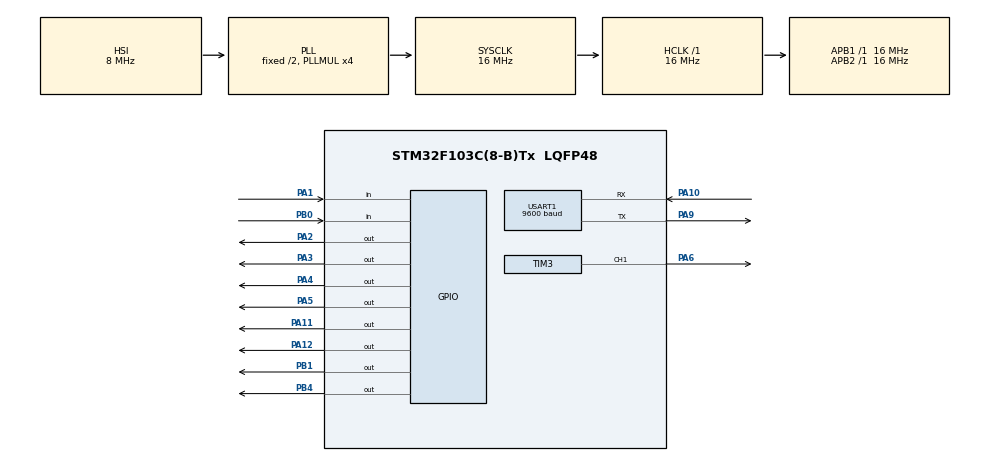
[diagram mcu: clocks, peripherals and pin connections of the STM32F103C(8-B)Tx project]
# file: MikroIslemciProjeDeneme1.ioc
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Mcu.Family=STM32F1
Mcu.Name=STM32F103C(8-B)Tx
Mcu.Package=LQFP48
NVIC.PriorityGroup=NVIC_PRIORITYGROUP_4
NVIC.TIM3_IRQn=true\:0\:0\:false\:false\:true\:true\:true
NVIC.USART1_IRQn=true\:0\:0\:false\:false\:true\:true\:true
PA1.Signal=GPIO_Input
PA10.GPIO_PuPd=GPIO_PULLUP
PA10.Mode=Asynchronous
PA10.Signal=USART1_RX
PA11.Signal=GPIO_Output
PA12.Signal=GPIO_Output
PA13.Mode=Serial_Wire
PA13.Signal=SYS_JTMS-SWDIO
PA14.Mode=Serial_Wire
PA14.Signal=SYS_JTCK-SWCLK
PA2.Signal=GPIO_Output
PA3.Signal=GPIO_Output
PA4.Signal=GPIO_Output
PA5.Signal=GPIO_Output
PA6.Signal=S_TIM3_CH1
PA9.Mode=Asynchronous
PA9.Signal=USART1_TX
PB0.Signal=GPIO_Input
PB1.Signal=GPIO_Output
PB4.Signal=GPIO_Output
ProjectManager.HeapSize=0x200
ProjectManager.StackSize=0x400
ProjectManager.TargetToolchain=MDK-ARM V5.32
RCC.AHBFreq_Value=16000000
RCC.APB1Freq_Value=16000000
RCC.APB1TimFreq_Value=16000000
RCC.APB2Freq_Value=16000000
RCC.APB2TimFreq_Value=16000000
RCC.HCLKFreq_Value=16000000
RCC.PLLMUL=RCC_PLL_MUL4
RCC.SYSCLKFreq_VALUE=16000000
RCC.SYSCLKSource=RCC_SYSCLKSOURCE_PLLCLK
RCC.USBFreq_Value=16000000
SH.S_TIM3_CH1.0=TIM3_CH1,PWM Generation1 CH1
TIM3.Channel-PWM\ Generation1\ CH1=TIM_CHANNEL_1
TIM3.Period=100
TIM3.Prescaler=160
USART1.BaudRate=9600
USART1.VirtualMode=VM_ASYNC
board=custom

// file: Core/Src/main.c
/* USER CODE BEGIN Header */
/**
  ******************************************************************************
  * @file           : main.c
  * @brief          : Main program body
  ******************************************************************************
  * @attention
  *
  * Copyright (c) 2022 STMicroelectronics.
  * All rights reserved.
  *
  * This software is licensed under terms that can be found in the LICENSE file
  * in the root directory of this software component.
  * If no LICENSE file comes with this software, it is provided AS-IS.
  *
  ******************************************************************************
  */
/* USER CODE END Header */
#include "main.h"

/* USER CODE BEGIN PD */
float mesafe = 0;
float sayac = 0;
float sayac2 = 0;
float mesafe2 = 0;
int counter =0;
/* USER CODE END PD */

TIM_HandleTypeDef htim3;

UART_HandleTypeDef huart1;

/* USER CODE BEGIN PV */
uint8_t getData[10];
char tData[10];
/* USER CODE END PV */

void SystemClock_Config(void);
static void MX_GPIO_Init(void);
static void MX_TIM3_Init(void);
static void MX_USART1_UART_Init(void);

/* USER CODE BEGIN 0 */
/*void ileri(int s) {
	TIM3 -> CCR1 = s;
	HAL_GPIO_WritePin(GPIOA, GPIO_PIN_3|GPIO_PIN_12, GPIO_PIN_SET);
	HAL_GPIO_WritePin(GPIOA, GPIO_PIN_4|GPIO_PIN_11, GPIO_PIN_RESET);
}

void geri(int s) {
	TIM3 -> CCR1 = s;
	HAL_GPIO_WritePin(GPIOA, GPIO_PIN_3|GPIO_PIN_12, GPIO_PIN_RESET);
	HAL_GPIO_WritePin(GPIOA, GPIO_PIN_4|GPIO_PIN_11, GPIO_PIN_SET);

}*/
void reverse(char* str, int len)
{
    int i = 0, j = len - 1, temp;
    while (i < j) {
        temp = str[i];
        str[i] = str[j];
        str[j] = temp;
        i++;
        j--;
    }
}

// Converts a given integer x to string str[].
// d is the number of digits required in the output.
// If d is more than the number of digits in x,
// then 0s are added at the beginning.
int intToStr(int x, char str[], int d)
{
    int i = 0;
    while (x) {
        str[i++] = (x % 10) + '0';
        x = x / 10;
    }

    // If number of digits required is more, then
    // add 0s at the beginning
    while (i < d)
        str[i++] = '0';

    reverse(str, i);
    str[i] = '\0';
    return i;
}

// Converts a floating-point/double number to a string.
void ftoa(float n, char* res, int afterpoint)
{
    // Extract integer part
    int ipart = (int)n;

    // Extract floating part
    float fpart = n - (float)ipart;

    // convert integer part to string
    int i = intToStr(ipart, res, 0);

    // check for display option after point
    if (afterpoint != 0) {
        res[i] = '.'; // add dot

        // Get the value of fraction part upto given no.
        // of points after dot. The third parameter
        // is needed to handle cases like 233.007
        fpart = fpart * pow(10, afterpoint);

        intToStr((int)fpart, res + i + 1, afterpoint);
    }
}

void ileri_sol(int s) {
	TIM3 -> CCR1 = s;
	HAL_GPIO_WritePin(GPIOA, GPIO_PIN_3, GPIO_PIN_SET);
	HAL_GPIO_WritePin(GPIOA, GPIO_PIN_4, GPIO_PIN_RESET);
}
void geri_sol(int s) {
	TIM3 -> CCR1 = s;
	HAL_GPIO_WritePin(GPIOA, GPIO_PIN_3, GPIO_PIN_RESET);
	HAL_GPIO_WritePin(GPIOA, GPIO_PIN_4, GPIO_PIN_SET);
}

void geri_sag(int s){
	TIM3-> CCR1 = s;
	HAL_GPIO_WritePin(GPIOA, GPIO_PIN_11, GPIO_PIN_SET);
	HAL_GPIO_WritePin(GPIOA, GPIO_PIN_12, GPIO_PIN_RESET);
}
void ileri_sag(int s){
	TIM3-> CCR1 = s;
	HAL_GPIO_WritePin(GPIOA, GPIO_PIN_11, GPIO_PIN_RESET);
	HAL_GPIO_WritePin(GPIOA, GPIO_PIN_12, GPIO_PIN_SET);
}
void ileri(int s) {
	ileri_sol(s);
	ileri_sag(s);
}
void geri(int s) {
	geri_sol(s);
	geri_sag(s);
}
void sag(int s) {
	ileri_sol(s);
	geri_sag(s);
}
void sol(int s) {
	ileri_sag(s);
	geri_sol(s);
}
void dur() {
	TIM3 -> CCR1 = 0;
	HAL_GPIO_WritePin(GPIOA, GPIO_PIN_3|GPIO_PIN_4|GPIO_PIN_11|GPIO_PIN_12, GPIO_PIN_RESET);
}
/* USER CODE END 0 */

int main(void)
{

  /* MCU Configuration--------------------------------------------------------*/

  /* Reset of all peripherals, Initializes the Flash interface and the Systick. */
  HAL_Init();

  /* Configure the system clock */
  SystemClock_Config();

  /* Initialize all configured peripherals */
  MX_GPIO_Init();
  MX_TIM3_Init();
  MX_USART1_UART_Init();
  /* USER CODE BEGIN 2 */
	__HAL_UART_ENABLE_IT(&huart1, UART_IT_RXNE);
	HAL_TIM_PWM_Start(&htim3, TIM_CHANNEL_1);
  /* USER CODE END 2 */

  /* Infinite loop */
  while (1)
  {

    /* USER CODE BEGIN 3 */

		//TRIG pini 1 ms süresince set edilir.
		HAL_GPIO_WritePin(GPIOA, GPIO_PIN_2, GPIO_PIN_SET);
		HAL_Delay(1);
		HAL_GPIO_WritePin(GPIOA, GPIO_PIN_2, GPIO_PIN_RESET);

		while(!HAL_GPIO_ReadPin(GPIOA, GPIO_PIN_1));
		sayac = 0;
		while(HAL_GPIO_ReadPin(GPIOA, GPIO_PIN_1)) {
			sayac++;
		}

		//TRIG pini 1 ms süresince set edilir.
		HAL_GPIO_WritePin(GPIOB, GPIO_PIN_1, GPIO_PIN_SET);
		HAL_Delay(1);
		HAL_GPIO_WritePin(GPIOB, GPIO_PIN_1, GPIO_PIN_RESET);

		while(!HAL_GPIO_ReadPin(GPIOB, GPIO_PIN_0));
		sayac2 = 0;
		while(HAL_GPIO_ReadPin(GPIOB, GPIO_PIN_0)) {
			sayac2++;
		}
		mesafe = sayac * 0.057;
		mesafe2 = sayac2 * 0.057;
		HAL_Delay(60);
		char ileri1[] = "ileri0**\r\n";
		char ileri2[] = "ileri1**\r\n";
		char ileri3[] = "ileri2**\r\n";
		char ileri4[] = "ileri3**\r\n";
		char geri1[] = "geri0***\r\n";
		char geri2[] = "geri1***\r\n";
		char geri3[] = "geri2***\r\n";
		char geri4[] = "geri3***\r\n";
		char sagVeri[] = "sag*****\r\n";
		char solVeri[] = "sol*****\r\n";
		char durVeri[] = "dur*****\r\n";
		char gelenVeri[10];
		for(int i = 0; i< 10; i++) {
			gelenVeri[i] = getData[i];
		}

		if(counter == 6) {
			ftoa(mesafe, tData, 2);
			tData[8] = '\r';
			tData[9] = '\n';
			HAL_UART_Transmit_IT(&huart1,(uint8_t*) &tData, 10);
			HAL_Delay(500);
			counter = 0;
		}
		if(mesafe >= 20){
			if((strcmp(gelenVeri, ileri1) == 0)) {
				ileri(45);
			} else if(strcmp(gelenVeri, ileri2)== 0){
				ileri(50);
			} else if(strcmp(gelenVeri, ileri3)== 0){
				ileri(70);
			} else if(strcmp(gelenVeri, ileri4)== 0){
				ileri(100);
			}else if(strcmp(gelenVeri, geri1)== 0){
				geri(45);
			}else if(strcmp(gelenVeri, geri2)== 0){
				geri(50);
			}else if(strcmp(gelenVeri, geri3)== 0){
				geri(70);
			}else if(strcmp(gelenVeri, geri4)== 0){
				geri(100);
			}
			else if(strcmp(gelenVeri, sagVeri)== 0){
			sag(45);
		}else if(strcmp(gelenVeri, solVeri)== 0){
			sol(45);
			}
		}if(strcmp(gelenVeri, durVeri)== 0){
			dur();
		}

		counter++;
  }
  /* USER CODE END 3 */
}

void SystemClock_Config(void)
{
  RCC_OscInitTypeDef RCC_OscInitStruct = {0};
  RCC_ClkInitTypeDef RCC_ClkInitStruct = {0};

  /** Initializes the RCC Oscillators according to the specified parameters
  * in the RCC_OscInitTypeDef structure.
  */
  RCC_OscInitStruct.OscillatorType = RCC_OSCILLATORTYPE_HSI;
  RCC_OscInitStruct.HSIState = RCC_HSI_ON;
  RCC_OscInitStruct.HSICalibrationValue = RCC_HSICALIBRATION_DEFAULT;
  RCC_OscInitStruct.PLL.PLLState = RCC_PLL_ON;
  RCC_OscInitStruct.PLL.PLLSource = RCC_PLLSOURCE_HSI_DIV2;
  RCC_OscInitStruct.PLL.PLLMUL = RCC_PLL_MUL4;
  if (HAL_RCC_OscConfig(&RCC_OscInitStruct) != HAL_OK)
  {
    Error_Handler();
  }
  /** Initializes the CPU, AHB and APB buses clocks
  */
  RCC_ClkInitStruct.ClockType = RCC_CLOCKTYPE_HCLK|RCC_CLOCKTYPE_SYSCLK
                              |RCC_CLOCKTYPE_PCLK1|RCC_CLOCKTYPE_PCLK2;
  RCC_ClkInitStruct.SYSCLKSource = RCC_SYSCLKSOURCE_PLLCLK;
  RCC_ClkInitStruct.AHBCLKDivider = RCC_SYSCLK_DIV1;
  RCC_ClkInitStruct.APB1CLKDivider = RCC_HCLK_DIV1;
  RCC_ClkInitStruct.APB2CLKDivider = RCC_HCLK_DIV1;

  if (HAL_RCC_ClockConfig(&RCC_ClkInitStruct, FLASH_LATENCY_0) != HAL_OK)
  {
    Error_Handler();
  }
}

static void MX_TIM3_Init(void)
{

  TIM_MasterConfigTypeDef sMasterConfig = {0};
  TIM_OC_InitTypeDef sConfigOC = {0};

  htim3.Instance = TIM3;
  htim3.Init.Prescaler = 160;
  htim3.Init.CounterMode = TIM_COUNTERMODE_UP;
  htim3.Init.Period = 100;
  htim3.Init.ClockDivision = TIM_CLOCKDIVISION_DIV1;
  htim3.Init.AutoReloadPreload = TIM_AUTORELOAD_PRELOAD_DISABLE;
  if (HAL_TIM_PWM_Init(&htim3) != HAL_OK)
  {
    Error_Handler();
  }
  sMasterConfig.MasterOutputTrigger = TIM_TRGO_RESET;
  sMasterConfig.MasterSlaveMode = TIM_MASTERSLAVEMODE_DISABLE;
  if (HAL_TIMEx_MasterConfigSynchronization(&htim3, &sMasterConfig) != HAL_OK)
  {
    Error_Handler();
  }
  sConfigOC.OCMode = TIM_OCMODE_PWM1;
  sConfigOC.Pulse = 0;
  sConfigOC.OCPolarity = TIM_OCPOLARITY_HIGH;
  sConfigOC.OCFastMode = TIM_OCFAST_DISABLE;
  if (HAL_TIM_PWM_ConfigChannel(&htim3, &sConfigOC, TIM_CHANNEL_1) != HAL_OK)
  {
    Error_Handler();
  }
  HAL_TIM_MspPostInit(&htim3);

}

static void MX_USART1_UART_Init(void)
{

  huart1.Instance = USART1;
  huart1.Init.BaudRate = 9600;
  huart1.Init.WordLength = UART_WORDLENGTH_8B;
  huart1.Init.StopBits = UART_STOPBITS_1;
  huart1.Init.Parity = UART_PARITY_NONE;
  huart1.Init.Mode = UART_MODE_TX_RX;
  huart1.Init.HwFlowCtl = UART_HWCONTROL_NONE;
  huart1.Init.OverSampling = UART_OVERSAMPLING_16;
  if (HAL_UART_Init(&huart1) != HAL_OK)
  {
    Error_Handler();
  }

}

static void MX_GPIO_Init(void)
{
  GPIO_InitTypeDef GPIO_InitStruct = {0};

  /* GPIO Ports Clock Enable */
  __HAL_RCC_GPIOA_CLK_ENABLE();
  __HAL_RCC_GPIOB_CLK_ENABLE();

  /*Configure GPIO pin Output Level */
  HAL_GPIO_WritePin(GPIOA, GPIO_PIN_2|GPIO_PIN_3|GPIO_PIN_4|GPIO_PIN_5
                          |GPIO_PIN_11|GPIO_PIN_12, GPIO_PIN_RESET);

  /*Configure GPIO pin Output Level */
  HAL_GPIO_WritePin(GPIOB, GPIO_PIN_1|GPIO_PIN_4, GPIO_PIN_RESET);

  /*Configure GPIO pin : PA1 */
  GPIO_InitStruct.Pin = GPIO_PIN_1;
  GPIO_InitStruct.Mode = GPIO_MODE_INPUT;
  GPIO_InitStruct.Pull = GPIO_NOPULL;
  HAL_GPIO_Init(GPIOA, &GPIO_InitStruct);

  /*Configure GPIO pins : PA2 PA3 PA4 PA5
                           PA11 PA12 */
  GPIO_InitStruct.Pin = GPIO_PIN_2|GPIO_PIN_3|GPIO_PIN_4|GPIO_PIN_5
                          |GPIO_PIN_11|GPIO_PIN_12;
  GPIO_InitStruct.Mode = GPIO_MODE_OUTPUT_PP;
  GPIO_InitStruct.Pull = GPIO_NOPULL;
  GPIO_InitStruct.Speed = GPIO_SPEED_FREQ_LOW;
  HAL_GPIO_Init(GPIOA, &GPIO_InitStruct);

  /*Configure GPIO pin : PB0 */
  GPIO_InitStruct.Pin = GPIO_PIN_0;
  GPIO_InitStruct.Mode = GPIO_MODE_INPUT;
  GPIO_InitStruct.Pull = GPIO_NOPULL;
  HAL_GPIO_Init(GPIOB, &GPIO_InitStruct);

  /*Configure GPIO pins : PB1 PB4 */
  GPIO_InitStruct.Pin = GPIO_PIN_1|GPIO_PIN_4;
  GPIO_InitStruct.Mode = GPIO_MODE_OUTPUT_PP;
  GPIO_InitStruct.Pull = GPIO_NOPULL;
  GPIO_InitStruct.Speed = GPIO_SPEED_FREQ_LOW;
  HAL_GPIO_Init(GPIOB, &GPIO_InitStruct);

}

void Error_Handler(void)
{
  __disable_irq();
  while (1)
  {
  }
}
